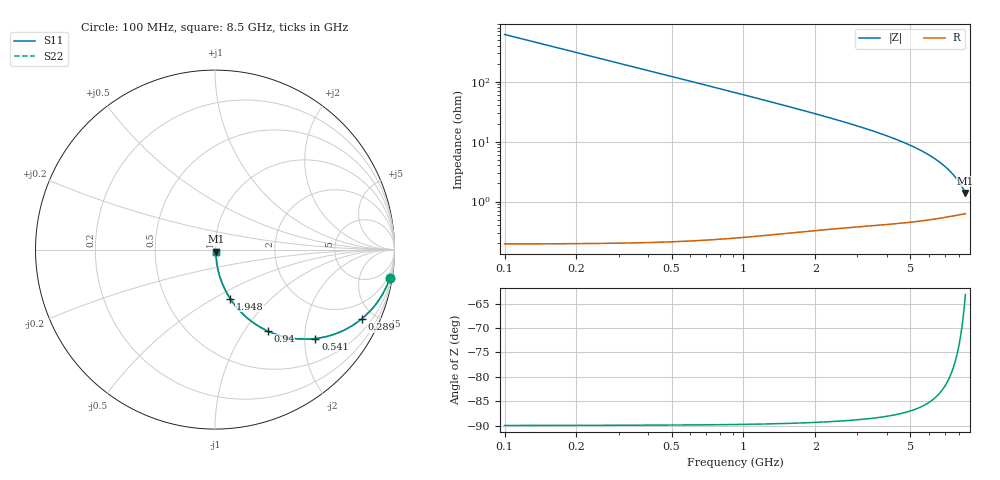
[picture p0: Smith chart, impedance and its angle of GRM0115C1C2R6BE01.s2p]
!Murata Part Number: GRM0115C1C2R6BE01
!These Parameters are Measured in Series Mode Connection
!Data Generated on Mar 30, 2021
!  o--ll--o
!Port1  Port2
!  o------o
!Operation Temp=25[degC], DC Bias Voltage=0[V]
!Freq. Start=100[MHz] Stop=9[GHz] 401[Steps]
# Hz S RI R 50
!Freq.(Hz) S11(Real) S11(Imag) S21(Real) S21(Imag) S12(Real) S12(Imag) S22(Real) S22(Imag)
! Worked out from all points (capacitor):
!   401 points, 100 MHz to 8.5 GHz, reference 50 ohm
!   read as one part in series: C = 2.6 pF near 142 MHz
!   lowest |Z| = 1.38 ohm at 8.5 GHz (marker M1)
!   S11 on the Smith chart (normalised r, x): 100 MHz: 1, -12; 289 MHz: 1.00, -4.23; 541 MHz: 1.00, -2.25; 940 MHz: 1.00, -1.29; 1.948 GHz: 1.01, -0.60; 8.5 GHz: 1.01, -0.02
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1e8  0.974 -0.1591  0.026 0.1591  0.026 0.1591  0.974 -0.1591
1.21e8  0.9623 -0.1902  0.0377 0.1902  0.0377 0.1902  0.9623 -0.1902
1.63e8  0.9336 -0.2487  0.0664 0.2487  0.0664 0.2487  0.9336 -0.2487
2.05e8  0.8989 -0.3011  0.1011 0.3011  0.1011 0.3011  0.8989 -0.3011
2.47e8  0.8596 -0.347  0.1404 0.347  0.1404 0.347  0.8596 -0.347
2.89e8  0.8172 -0.3861  0.1828 0.3861  0.1828 0.3861  0.8172 -0.3861
3.94e8  0.706 -0.4549  0.294 0.4549  0.294 0.4549  0.706 -0.4549
5.41e8  0.5594 -0.4955  0.4406 0.4955  0.4406 0.4955  0.5594 -0.4955
7.3e8  0.4097 -0.4904  0.5903 0.4904  0.5903 0.4904  0.4097 -0.4904
9.4e8  0.2937 -0.4535  0.7063 0.4535  0.7063 0.4535  0.2937 -0.4535
1.192e9  0.2039 -0.4002  0.7961 0.4002  0.7961 0.4002  0.2039 -0.4002
1.507e9  0.1365 -0.3396  0.8635 0.3396  0.8635 0.3396  0.1365 -0.3396
1.948e9  0.0847 -0.2731  0.9153 0.2731  0.9153 0.2731  0.0847 -0.2731
2.389e9  0.0567 -0.224  0.9433 0.224  0.9433 0.224  0.0567 -0.224
2.914e9  0.0377 -0.1807  0.9623 0.1807  0.9623 0.1807  0.0377 -0.1807
4.3e9  0.0163 -0.1089  0.9837 0.1089  0.9837 0.1089  0.0163 -0.1089
5.707e9  0.0091 -0.0654  0.9909 0.0654  0.9909 0.0654  0.0091 -0.0654
6.484e9  0.00742 -0.0475  0.9926 0.0475  0.9926 0.0475  0.00742 -0.0475
7.114e9  0.00671 -0.0351  0.9933 0.0351  0.9933 0.0351  0.00671 -0.0351
7.849e9  0.00637 -0.0223  0.9936 0.0223  0.9936 0.0223  0.00637 -0.0223
8.143e9  0.00634 -0.0176  0.9937 0.0176  0.9937 0.0176  0.00634 -0.0176
8.5e9  0.00636 -0.0122  0.9936 0.0122  0.9936 0.0122  0.00636 -0.0122
